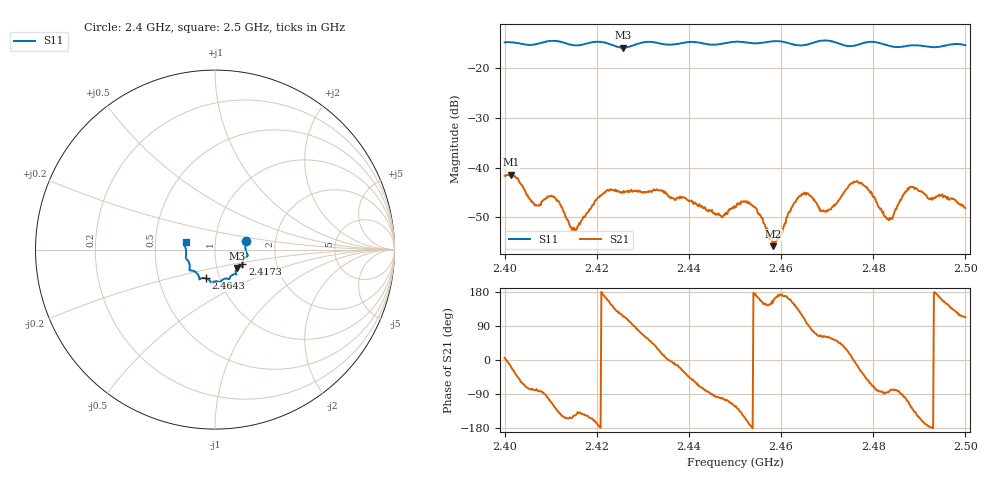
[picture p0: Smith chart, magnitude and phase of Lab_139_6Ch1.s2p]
# Hz S RI R 50
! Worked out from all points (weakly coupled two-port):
!   601 points, 2.4 GHz to 2.5 GHz, reference 50 ohm
!   highest |S21| = -41.44 dB at 2.4013 GHz (marker M1); lowest = -55.8 dB at 2.4583 GHz (marker M2)
!   lowest |S11| = -15.9 dB at 2.4257 GHz (marker M3), VSWR 1.38, Z = 62.4 - j13.1 ohm
!   |S11| at or under -10 dB: start of sweep to end of sweep
!   S12 and S22 are empty: the file has one direction only
!   S11 on the Smith chart (normalised r, x): 2.4 GHz: 1.41, +0.14; 2.4173 GHz: 1.34, -0.23; 2.4643 GHz: 0.86, -0.28; 2.5 GHz: 0.72, +0.06
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2.4e9  0.1734 0.0496  0.00822 0.000792  0 0  0 0
2.401333e9  0.1754 0.0443  0.0081 -0.00248  0 0  0 0
2.406667e9  0.1719 -0.00681  0.000749 -0.00417  0 0  0 0
2.411167e9  0.183 -0.0344  -0.00308 -0.00373  0 0  0 0
2.414667e9  0.161 -0.0523  -0.0021 -0.00108  0 0  0 0
2.416667e9  0.153 -0.0747  -0.00232 -0.00179  0 0  0 0
2.417333e9  0.1525 -0.0821  -0.00255 -0.00188  0 0  0 0
2.422e9  0.1511 -0.0944  -0.00557 0.00165  0 0  0 0
2.425667e9  0.1225 -0.1021  -0.00237 0.00508  0 0  0 0
2.433333e9  0.1129 -0.1368  0.00521 0.00279  0 0  0 0
2.446833e9  0.0416 -0.1684  -0.000559 -0.00326  0 0  0 0
2.45e9  0.0297 -0.1806  -0.00216 -0.00334  0 0  0 0
2.454167e9  0.00893 -0.1763  -0.00401 0.000304  0 0  0 0
2.458333e9  -0.0199 -0.1843  -0.0015 0.000624  0 0  0 0
2.464333e9  -0.0504 -0.1603  -0.00271 0.00442  0 0  0 0
2.466667e9  -0.0761 -0.1598  0.000945 0.00498  0 0  0 0
2.469833e9  -0.0877 -0.1666  0.0018 0.00319  0 0  0 0
2.475167e9  -0.1083 -0.1253  0.00676 0.00142  0 0  0 0
2.477e9  -0.1269 -0.1166  0.0063 -0.0028  0 0  0 0
2.483333e9  -0.1406 -0.0895  0.000325 -0.00296  0 0  0 0
2.488333e9  -0.1611 -0.0491  -0.0037 -0.00522  0 0  0 0
2.5e9  -0.1634 0.0424  -0.00153 0.00361  0 0  0 0
